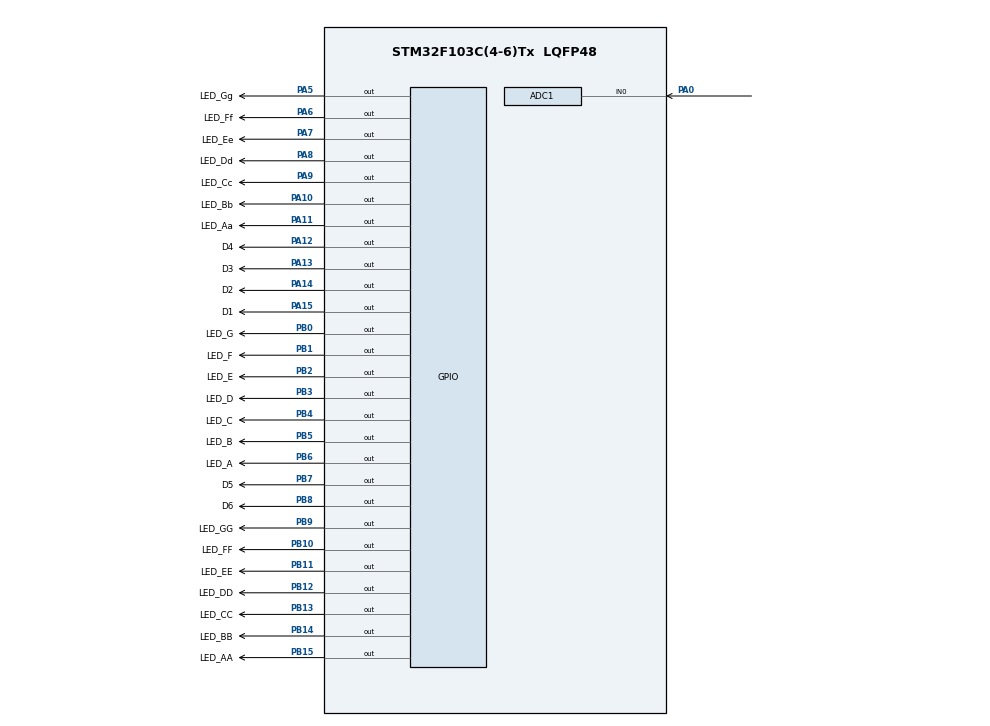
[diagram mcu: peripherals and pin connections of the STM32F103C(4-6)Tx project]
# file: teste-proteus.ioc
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ADC1.Channel-0\#ChannelRegularConversion=ADC_CHANNEL_0
ADC1.NbrOfConversionFlag=1
ADC1.Rank-0\#ChannelRegularConversion=1
ADC1.SamplingTime-0\#ChannelRegularConversion=ADC_SAMPLETIME_1CYCLE_5
ADC1.master=1
Mcu.Family=STM32F1
Mcu.Name=STM32F103C(4-6)Tx
Mcu.Package=LQFP48
NVIC.ADC1_2_IRQn=true\:0\:0\:false\:false\:true\:true\:true
NVIC.PriorityGroup=NVIC_PRIORITYGROUP_4
PA0-WKUP.Signal=ADCx_IN0
PA10.GPIO_Label=LED_Bb
PA10.Signal=GPIO_Output
PA11.GPIO_Label=LED_Aa
PA11.Signal=GPIO_Output
PA12.GPIO_Label=D4
PA12.Signal=GPIO_Output
PA13.GPIO_Label=D3
PA13.Signal=GPIO_Output
PA14.GPIO_Label=D2
PA14.Signal=GPIO_Output
PA15.GPIO_Label=D1
PA15.Signal=GPIO_Output
PA5.GPIO_Label=LED_Gg
PA5.Signal=GPIO_Output
PA6.GPIO_Label=LED_Ff
PA6.Signal=GPIO_Output
PA7.GPIO_Label=LED_Ee
PA7.Signal=GPIO_Output
PA8.GPIO_Label=LED_Dd
PA8.Signal=GPIO_Output
PA9.GPIO_Label=LED_Cc
PA9.Signal=GPIO_Output
PB0.GPIO_Label=LED_G
PB0.Signal=GPIO_Output
PB1.GPIO_Label=LED_F
PB1.Signal=GPIO_Output
PB10.GPIO_Label=LED_FF
PB10.Signal=GPIO_Output
PB11.GPIO_Label=LED_EE
PB11.Signal=GPIO_Output
PB12.GPIO_Label=LED_DD
PB12.Signal=GPIO_Output
PB13.GPIO_Label=LED_CC
PB13.Signal=GPIO_Output
PB14.GPIO_Label=LED_BB
PB14.Signal=GPIO_Output
PB15.GPIO_Label=LED_AA
PB15.Signal=GPIO_Output
PB2.GPIO_Label=LED_E
PB2.Signal=GPIO_Output
PB3.GPIO_Label=LED_D
PB3.Signal=GPIO_Output
PB4.GPIO_Label=LED_C
PB4.Signal=GPIO_Output
PB5.GPIO_Label=LED_B
PB5.Signal=GPIO_Output
PB6.GPIO_Label=LED_A
PB6.Signal=GPIO_Output
PB7.GPIO_Label=D5
PB7.Signal=GPIO_Output
PB8.GPIO_Label=D6
PB8.Signal=GPIO_Output
PB9.GPIO_Label=LED_GG
PB9.Signal=GPIO_Output
PD0-OSC_IN.Mode=HSE-External-Oscillator
PD0-OSC_IN.Signal=RCC_OSC_IN
PD1-OSC_OUT.Mode=HSE-External-Oscillator
PD1-OSC_OUT.Signal=RCC_OSC_OUT
ProjectManager.HeapSize=0x200
ProjectManager.StackSize=0x400
ProjectManager.TargetToolchain=STM32CubeIDE
RCC.APB1Freq_Value=8000000
RCC.APB2Freq_Value=8000000
RCC.SYSCLKSource=RCC_SYSCLKSOURCE_HSE
RTC.Hours=15
RTC.Minutes=33
RTC.Seconds=30
SH.ADCx_IN0.0=ADC1_IN0,IN0
VP_RTC_VS_RTC_Activate.Mode=RTC_Enabled
VP_RTC_VS_RTC_Calendar.Mode=RTC_Calendar
VP_SYS_VS_ND.Mode=No_Debug
board=custom

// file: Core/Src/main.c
/* USER CODE BEGIN Header */
/**
  ******************************************************************************
  * @file           : main.c
  * @brief          : Main program body
  ******************************************************************************
  * @attention
  *
  * Copyright (c) 2022 STMicroelectronics.
  * All rights reserved.
  *
  * This software is licensed under terms that can be found in the LICENSE file
  * in the root directory of this software component.
  * If no LICENSE file comes with this software, it is provided AS-IS.
  *
  ******************************************************************************
  */
/* USER CODE END Header */
#include "main.h"

ADC_HandleTypeDef hadc1;

RTC_HandleTypeDef hrtc;

/* USER CODE BEGIN PV */
RTC_TimeTypeDef tempo;
uint16_t pot;

/* USER CODE END PV */

void SystemClock_Config(void);
static void MX_GPIO_Init(void);
static void MX_RTC_Init(void);
static void MX_ADC1_Init(void);

/* USER CODE BEGIN 0 */
void get_time(void)
{
  RTC_DateTypeDef gDate;
  RTC_TimeTypeDef gTime;
  /* Get the RTC current Time */
  HAL_RTC_GetTime(&hrtc, &gTime, RTC_FORMAT_BIN);
  /* Get the RTC current Date */
  HAL_RTC_GetDate(&hrtc, &gDate, RTC_FORMAT_BIN);
}

void displayNum(uint16_t numero, uint8_t display){

		switch(display)
		{
		case 1:
			HAL_GPIO_WritePin(D1_GPIO_Port, D1_Pin, 0);
		    HAL_GPIO_WritePin(D2_GPIO_Port, D2_Pin, 1);
		    HAL_GPIO_WritePin(D3_GPIO_Port, D3_Pin, 1);
			HAL_GPIO_WritePin(D4_GPIO_Port, D4_Pin, 1);
			break;

		case 2:
			HAL_GPIO_WritePin(D1_GPIO_Port, D1_Pin, 1);
		    HAL_GPIO_WritePin(D2_GPIO_Port, D2_Pin, 0);
		    HAL_GPIO_WritePin(D3_GPIO_Port, D3_Pin, 1);
			HAL_GPIO_WritePin(D4_GPIO_Port, D4_Pin, 1);
			break;

		case 3:
			HAL_GPIO_WritePin(D1_GPIO_Port, D1_Pin, 1);
		    HAL_GPIO_WritePin(D2_GPIO_Port, D2_Pin, 1);
		    HAL_GPIO_WritePin(D3_GPIO_Port, D3_Pin, 0);
			HAL_GPIO_WritePin(D4_GPIO_Port, D4_Pin, 1);
			break;

		case 4:
			HAL_GPIO_WritePin(D1_GPIO_Port, D1_Pin, 1);
		    HAL_GPIO_WritePin(D2_GPIO_Port, D2_Pin, 1);
		    HAL_GPIO_WritePin(D3_GPIO_Port, D3_Pin, 1);
			HAL_GPIO_WritePin(D4_GPIO_Port, D4_Pin, 0);
			break;

		default:
			HAL_GPIO_WritePin(D1_GPIO_Port, D1_Pin, 1);
			HAL_GPIO_WritePin(D2_GPIO_Port, D2_Pin, 1);
		    HAL_GPIO_WritePin(D3_GPIO_Port, D3_Pin, 1);
			HAL_GPIO_WritePin(D4_GPIO_Port, D4_Pin, 1);
			break;
		}

		HAL_GPIO_WritePin(LED_A_GPIO_Port, LED_A_Pin, GPIO_PIN_RESET);
		HAL_GPIO_WritePin(LED_B_GPIO_Port, LED_B_Pin, GPIO_PIN_RESET);
		HAL_GPIO_WritePin(LED_C_GPIO_Port, LED_C_Pin, GPIO_PIN_RESET);
		HAL_GPIO_WritePin(LED_D_GPIO_Port, LED_D_Pin, GPIO_PIN_RESET);
		HAL_GPIO_WritePin(LED_E_GPIO_Port, LED_E_Pin, GPIO_PIN_RESET);
		HAL_GPIO_WritePin(LED_F_GPIO_Port, LED_F_Pin, GPIO_PIN_RESET);
		HAL_GPIO_WritePin(LED_G_GPIO_Port, LED_G_Pin, GPIO_PIN_RESET);

		switch(numero)
		{
		case 0:
			HAL_GPIO_WritePin(LED_A_GPIO_Port, LED_A_Pin, GPIO_PIN_SET);
			HAL_GPIO_WritePin(LED_B_GPIO_Port, LED_B_Pin, GPIO_PIN_SET);
			HAL_GPIO_WritePin(LED_C_GPIO_Port, LED_C_Pin, GPIO_PIN_SET);
			HAL_GPIO_WritePin(LED_D_GPIO_Port, LED_D_Pin, GPIO_PIN_SET);
			HAL_GPIO_WritePin(LED_E_GPIO_Port, LED_E_Pin, GPIO_PIN_SET);
			HAL_GPIO_WritePin(LED_F_GPIO_Port, LED_F_Pin, GPIO_PIN_SET);
			break;

		case 1:
			HAL_GPIO_WritePin(LED_B_GPIO_Port, LED_B_Pin, GPIO_PIN_SET);
			HAL_GPIO_WritePin(LED_C_GPIO_Port, LED_C_Pin, GPIO_PIN_SET);
			break;

		case 2:
			HAL_GPIO_WritePin(LED_A_GPIO_Port, LED_A_Pin, GPIO_PIN_SET);
			HAL_GPIO_WritePin(LED_B_GPIO_Port, LED_B_Pin, GPIO_PIN_SET);
			HAL_GPIO_WritePin(LED_D_GPIO_Port, LED_D_Pin, GPIO_PIN_SET);
			HAL_GPIO_WritePin(LED_E_GPIO_Port, LED_E_Pin, GPIO_PIN_SET);
			HAL_GPIO_WritePin(LED_G_GPIO_Port, LED_G_Pin, GPIO_PIN_SET);
			break;

		case 3:
			HAL_GPIO_WritePin(LED_A_GPIO_Port, LED_A_Pin, GPIO_PIN_SET);
			HAL_GPIO_WritePin(LED_B_GPIO_Port, LED_B_Pin, GPIO_PIN_SET);
			HAL_GPIO_WritePin(LED_C_GPIO_Port, LED_C_Pin, GPIO_PIN_SET);
			HAL_GPIO_WritePin(LED_D_GPIO_Port, LED_D_Pin, GPIO_PIN_SET);
			HAL_GPIO_WritePin(LED_G_GPIO_Port, LED_G_Pin, GPIO_PIN_SET);
			break;

		case 4:
			HAL_GPIO_WritePin(LED_B_GPIO_Port, LED_B_Pin, GPIO_PIN_SET);
			HAL_GPIO_WritePin(LED_C_GPIO_Port, LED_C_Pin, GPIO_PIN_SET);
			HAL_GPIO_WritePin(LED_F_GPIO_Port, LED_F_Pin, GPIO_PIN_SET);
			HAL_GPIO_WritePin(LED_G_GPIO_Port, LED_G_Pin, GPIO_PIN_SET);
			break;

		case 5:
			HAL_GPIO_WritePin(LED_A_GPIO_Port, LED_A_Pin, GPIO_PIN_SET);
			HAL_GPIO_WritePin(LED_C_GPIO_Port, LED_C_Pin, GPIO_PIN_SET);
			HAL_GPIO_WritePin(LED_D_GPIO_Port, LED_D_Pin, GPIO_PIN_SET);
			HAL_GPIO_WritePin(LED_F_GPIO_Port, LED_F_Pin, GPIO_PIN_SET);
			HAL_GPIO_WritePin(LED_G_GPIO_Port, LED_G_Pin, GPIO_PIN_SET);
			break;

		case 6:
			HAL_GPIO_WritePin(LED_A_GPIO_Port, LED_A_Pin, GPIO_PIN_SET);
			HAL_GPIO_WritePin(LED_C_GPIO_Port, LED_C_Pin, GPIO_PIN_SET);
			HAL_GPIO_WritePin(LED_D_GPIO_Port, LED_D_Pin, GPIO_PIN_SET);
			HAL_GPIO_WritePin(LED_E_GPIO_Port, LED_E_Pin, GPIO_PIN_SET);
			HAL_GPIO_WritePin(LED_F_GPIO_Port, LED_F_Pin, GPIO_PIN_SET);
			HAL_GPIO_WritePin(LED_G_GPIO_Port, LED_G_Pin, GPIO_PIN_SET);
			break;

		case 7:
			HAL_GPIO_WritePin(LED_A_GPIO_Port, LED_A_Pin, GPIO_PIN_SET);
			HAL_GPIO_WritePin(LED_B_GPIO_Port, LED_B_Pin, GPIO_PIN_SET);
			HAL_GPIO_WritePin(LED_C_GPIO_Port, LED_C_Pin, GPIO_PIN_SET);
			break;

		case 8:
			HAL_GPIO_WritePin(LED_A_GPIO_Port, LED_A_Pin, GPIO_PIN_SET);
			HAL_GPIO_WritePin(LED_B_GPIO_Port, LED_B_Pin, GPIO_PIN_SET);
			HAL_GPIO_WritePin(LED_C_GPIO_Port, LED_C_Pin, GPIO_PIN_SET);
			HAL_GPIO_WritePin(LED_D_GPIO_Port, LED_D_Pin, GPIO_PIN_SET);
			HAL_GPIO_WritePin(LED_E_GPIO_Port, LED_E_Pin, GPIO_PIN_SET);
			HAL_GPIO_WritePin(LED_F_GPIO_Port, LED_F_Pin, GPIO_PIN_SET);
			HAL_GPIO_WritePin(LED_G_GPIO_Port, LED_G_Pin, GPIO_PIN_SET);

			break;

		case 9:
			HAL_GPIO_WritePin(LED_A_GPIO_Port, LED_A_Pin, GPIO_PIN_SET);
			HAL_GPIO_WritePin(LED_B_GPIO_Port, LED_B_Pin, GPIO_PIN_SET);
			HAL_GPIO_WritePin(LED_C_GPIO_Port, LED_C_Pin, GPIO_PIN_SET);
			HAL_GPIO_WritePin(LED_G_GPIO_Port, LED_G_Pin, GPIO_PIN_SET);
			HAL_GPIO_WritePin(LED_F_GPIO_Port, LED_F_Pin, GPIO_PIN_SET);

			break;

		default:
			break;
		}
		HAL_Delay(100);
	}
/* USER CODE END 0 */

int main(void)
{

  /* MCU Configuration--------------------------------------------------------*/

  /* Reset of all peripherals, Initializes the Flash interface and the Systick. */
  HAL_Init();

  /* Configure the system clock */
  SystemClock_Config();

  /* Initialize all configured peripherals */
  MX_GPIO_Init();
  MX_RTC_Init();
  MX_ADC1_Init();

  /* Infinite loop */
  /* USER CODE BEGIN WHILE */
  while (1)
  {
	  pot = 0;
	  for(int x = 0; x < 237; x++)
	  {
		  HAL_ADC_Start(&hadc1);
		  HAL_ADC_PollForConversion(&hadc1, 1000);
		  pot += HAL_ADC_GetValue(&hadc1);
	  }
	  pot /= 237;

	  HAL_RTC_GetTime(&hrtc, &tempo, RTC_FORMAT_BIN);

	  displayNum(tempo.Hours/10,1);
	  HAL_Delay(150);
	  displayNum(tempo.Hours%10,2);
	  HAL_Delay(150);

	  displayNum(tempo.Minutes/10,3);
	  HAL_Delay(150);
	  displayNum(tempo.Minutes%10,4);
	  HAL_Delay(150);

    /* USER CODE END WHILE */

  }
}

void SystemClock_Config(void)
{
  RCC_OscInitTypeDef RCC_OscInitStruct = {0};
  RCC_ClkInitTypeDef RCC_ClkInitStruct = {0};
  RCC_PeriphCLKInitTypeDef PeriphClkInit = {0};

  /** Initializes the RCC Oscillators according to the specified parameters
  * in the RCC_OscInitTypeDef structure.
  */
  RCC_OscInitStruct.OscillatorType = RCC_OSCILLATORTYPE_LSI|RCC_OSCILLATORTYPE_HSE;
  RCC_OscInitStruct.HSEState = RCC_HSE_ON;
  RCC_OscInitStruct.LSIState = RCC_LSI_ON;
  RCC_OscInitStruct.PLL.PLLState = RCC_PLL_NONE;
  if (HAL_RCC_OscConfig(&RCC_OscInitStruct) != HAL_OK)
  {
    Error_Handler();
  }
  /** Initializes the CPU, AHB and APB buses clocks
  */
  RCC_ClkInitStruct.ClockType = RCC_CLOCKTYPE_HCLK|RCC_CLOCKTYPE_SYSCLK
                              |RCC_CLOCKTYPE_PCLK1|RCC_CLOCKTYPE_PCLK2;
  RCC_ClkInitStruct.SYSCLKSource = RCC_SYSCLKSOURCE_HSE;
  RCC_ClkInitStruct.AHBCLKDivider = RCC_SYSCLK_DIV1;
  RCC_ClkInitStruct.APB1CLKDivider = RCC_HCLK_DIV1;
  RCC_ClkInitStruct.APB2CLKDivider = RCC_HCLK_DIV1;

  if (HAL_RCC_ClockConfig(&RCC_ClkInitStruct, FLASH_LATENCY_0) != HAL_OK)
  {
    Error_Handler();
  }
  PeriphClkInit.PeriphClockSelection = RCC_PERIPHCLK_RTC|RCC_PERIPHCLK_ADC;
  PeriphClkInit.RTCClockSelection = RCC_RTCCLKSOURCE_LSI;
  PeriphClkInit.AdcClockSelection = RCC_ADCPCLK2_DIV2;
  if (HAL_RCCEx_PeriphCLKConfig(&PeriphClkInit) != HAL_OK)
  {
    Error_Handler();
  }
}

static void MX_ADC1_Init(void)
{

  ADC_ChannelConfTypeDef sConfig = {0};

  /** Common config
  */
  hadc1.Instance = ADC1;
  hadc1.Init.ScanConvMode = ADC_SCAN_DISABLE;
  hadc1.Init.ContinuousConvMode = DISABLE;
  hadc1.Init.DiscontinuousConvMode = DISABLE;
  hadc1.Init.ExternalTrigConv = ADC_SOFTWARE_START;
  hadc1.Init.DataAlign = ADC_DATAALIGN_RIGHT;
  hadc1.Init.NbrOfConversion = 1;
  if (HAL_ADC_Init(&hadc1) != HAL_OK)
  {
    Error_Handler();
  }
  /** Configure Regular Channel
  */
  sConfig.Channel = ADC_CHANNEL_0;
  sConfig.Rank = ADC_REGULAR_RANK_1;
  sConfig.SamplingTime = ADC_SAMPLETIME_1CYCLE_5;
  if (HAL_ADC_ConfigChannel(&hadc1, &sConfig) != HAL_OK)
  {
    Error_Handler();
  }

}

static void MX_RTC_Init(void)
{

  RTC_TimeTypeDef sTime = {0};
  RTC_DateTypeDef DateToUpdate = {0};

  /** Initialize RTC Only
  */
  hrtc.Instance = RTC;
  hrtc.Init.AsynchPrediv = RTC_AUTO_1_SECOND;
  hrtc.Init.OutPut = RTC_OUTPUTSOURCE_ALARM;
  if (HAL_RTC_Init(&hrtc) != HAL_OK)
  {
    Error_Handler();
  }

  /** Initialize RTC and set the Time and Date
  */
  sTime.Hours = 0x15;
  sTime.Minutes = 0x33;
  sTime.Seconds = 0x30;

  if (HAL_RTC_SetTime(&hrtc, &sTime, RTC_FORMAT_BCD) != HAL_OK)
  {
    Error_Handler();
  }
  DateToUpdate.WeekDay = RTC_WEEKDAY_MONDAY;
  DateToUpdate.Month = RTC_MONTH_JANUARY;
  DateToUpdate.Date = 0x1;
  DateToUpdate.Year = 0x0;

  if (HAL_RTC_SetDate(&hrtc, &DateToUpdate, RTC_FORMAT_BCD) != HAL_OK)
  {
    Error_Handler();
  }

}

static void MX_GPIO_Init(void)
{
  GPIO_InitTypeDef GPIO_InitStruct = {0};

  /* GPIO Ports Clock Enable */
  __HAL_RCC_GPIOD_CLK_ENABLE();
  __HAL_RCC_GPIOA_CLK_ENABLE();
  __HAL_RCC_GPIOB_CLK_ENABLE();

  /*Configure GPIO pin Output Level */
  HAL_GPIO_WritePin(GPIOA, LED_Gg_Pin|LED_Ff_Pin|LED_Ee_Pin|LED_Dd_Pin
                          |LED_Cc_Pin|LED_Bb_Pin|LED_Aa_Pin|D4_Pin
                          |D3_Pin|D2_Pin|D1_Pin, GPIO_PIN_RESET);

  /*Configure GPIO pin Output Level */
  HAL_GPIO_WritePin(GPIOB, LED_G_Pin|LED_F_Pin|LED_E_Pin|LED_FF_Pin
                          |LED_EE_Pin|LED_DD_Pin|LED_CC_Pin|LED_BB_Pin
                          |LED_AA_Pin|LED_D_Pin|LED_C_Pin|LED_B_Pin
                          |LED_A_Pin|D5_Pin|D6_Pin|LED_GG_Pin, GPIO_PIN_RESET);

  /*Configure GPIO pins : LED_Gg_Pin LED_Ff_Pin LED_Ee_Pin LED_Dd_Pin
                           LED_Cc_Pin LED_Bb_Pin LED_Aa_Pin D4_Pin
                           D3_Pin D2_Pin D1_Pin */
  GPIO_InitStruct.Pin = LED_Gg_Pin|LED_Ff_Pin|LED_Ee_Pin|LED_Dd_Pin
                          |LED_Cc_Pin|LED_Bb_Pin|LED_Aa_Pin|D4_Pin
                          |D3_Pin|D2_Pin|D1_Pin;
  GPIO_InitStruct.Mode = GPIO_MODE_OUTPUT_PP;
  GPIO_InitStruct.Pull = GPIO_NOPULL;
  GPIO_InitStruct.Speed = GPIO_SPEED_FREQ_LOW;
  HAL_GPIO_Init(GPIOA, &GPIO_InitStruct);

  /*Configure GPIO pins : LED_G_Pin LED_F_Pin LED_E_Pin LED_FF_Pin
                           LED_EE_Pin LED_DD_Pin LED_CC_Pin LED_BB_Pin
                           LED_AA_Pin LED_D_Pin LED_C_Pin LED_B_Pin
                           LED_A_Pin D5_Pin D6_Pin LED_GG_Pin */
  GPIO_InitStruct.Pin = LED_G_Pin|LED_F_Pin|LED_E_Pin|LED_FF_Pin
                          |LED_EE_Pin|LED_DD_Pin|LED_CC_Pin|LED_BB_Pin
                          |LED_AA_Pin|LED_D_Pin|LED_C_Pin|LED_B_Pin
                          |LED_A_Pin|D5_Pin|D6_Pin|LED_GG_Pin;
  GPIO_InitStruct.Mode = GPIO_MODE_OUTPUT_PP;
  GPIO_InitStruct.Pull = GPIO_NOPULL;
  GPIO_InitStruct.Speed = GPIO_SPEED_FREQ_LOW;
  HAL_GPIO_Init(GPIOB, &GPIO_InitStruct);

}

void Error_Handler(void)
{
  __disable_irq();
  while (1)
  {
  }
}
